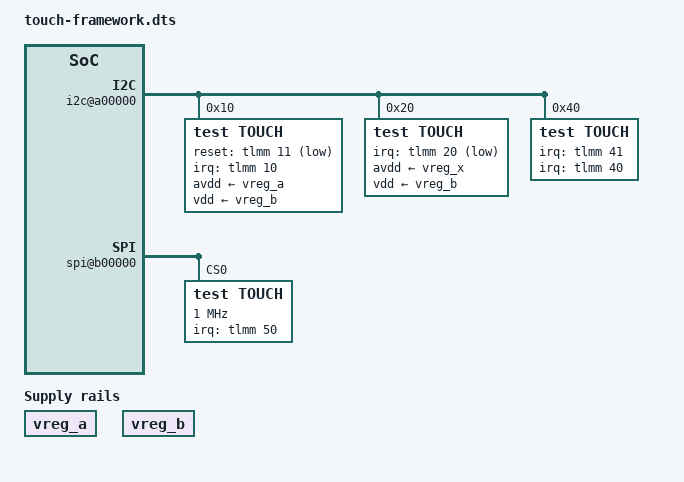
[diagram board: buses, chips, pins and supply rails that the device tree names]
// SPDX-License-Identifier: MIT
/dts-v1/;
/* Synthetic binding fixture for the touch framework unit test
 * (tests/io/touch_framework_test.c); written for kShimC, not a board DT.
 * Compiled by tests/io/touch.cmake with dtc. */
/ {
    #address-cells = <1>; #size-cells = <1>;

    tlmm: pinctrl@f000000 {
        compatible = "qcom,test-pinctrl";
        reg = <0xf000000 0x1000000>;
        gpio-controller; #gpio-cells = <2>;
        interrupt-controller; #interrupt-cells = <2>;
        ts_default: ts-default { pins = "gpio10", "gpio11"; function = "gpio"; bias-pull-up; };
        ts_active: ts-active { pins = "gpio20"; function = "gpio"; };
    };

    vreg_a: vreg-a { compatible = "regulator-fixed"; regulator-name = "vreg_a"; };
    vreg_b: vreg-b { compatible = "regulator-fixed"; regulator-name = "vreg_b"; };
    vreg_x: vreg-x { compatible = "test,unsupported"; regulator-name = "vreg_x"; };

    i2c@a00000 {
        compatible = "qcom,geni-i2c";
        reg = <0xa00000 0x4000>;
        #address-cells = <1>; #size-cells = <0>;

        /* Mainline style: interrupt on the TLMM, active-low reset. */
        touch@10 {
            compatible = "test,touch";
            reg = <0x10>;
            interrupts-extended = <&tlmm 10 8>;
            reset-gpios = <&tlmm 11 1>;
            avdd-supply = <&vreg_a>;
            vdd-supply = <&vreg_b>;
            pinctrl-names = "default";
            pinctrl-0 = <&ts_default>;
            touchscreen-size-x = <1000>;
            touchscreen-size-y = <2000>;
        };
        /* Android style: IRQ GPIO only, pmx_ts_active, uncontrollable rail. */
        touch@20 {
            compatible = "test,touch";
            reg = <0x20>;
            irq-gpios = <&tlmm 20 1>;
            avdd-supply = <&vreg_x>;
            vdd-supply = <&vreg_b>;
            pinctrl-names = "pmx_ts_active", "pmx_ts_suspend";
            pinctrl-0 = <&ts_active>;
            pinctrl-1 = <&ts_active>;
        };
        touch@30 {
            compatible = "test,touch";
            reg = <0x30>;
            status = "disabled";
        };
        /* The interrupt names another pin than the IRQ GPIO. */
        touch@40 {
            compatible = "test,touch";
            reg = <0x40>;
            interrupts-extended = <&tlmm 40 2>;
            irq-gpios = <&tlmm 41 0>;
        };
    };

    spi@b00000 {
        compatible = "qcom,geni-spi";
        reg = <0xb00000 0x4000>;
        #address-cells = <1>; #size-cells = <0>;
        touch@0 {
            compatible = "test,touch", "test,spi-touch";
            reg = <0>;
            spi-max-frequency = <1000000>;
            interrupts-extended = <&tlmm 50 2>;
        };
    };
};
